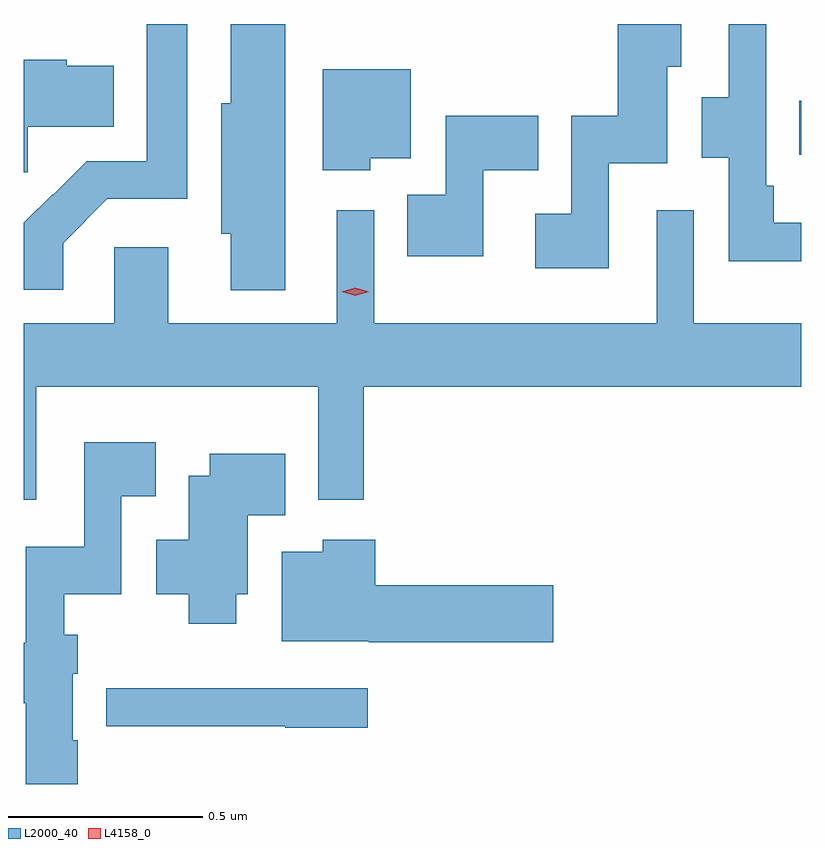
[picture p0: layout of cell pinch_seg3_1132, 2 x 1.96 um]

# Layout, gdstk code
import gdstk
lib = gdstk.Library(unit=1e-6, precision=1e-09)
def R(c, l, rs):  # rectangles x0, y0, x1, y1
    for r in rs: c.add(gdstk.rectangle(r[:2], r[2:], *l))
def P(c, l, *ps):  # polygons
    for p in ps: c.add(gdstk.Polygon(p, *l))
L2000_40 = (2000, 40)
L4158_0 = (4158, 0)

pinch_seg3_1132 = lib.new_cell('pinch_seg3_1132')
R(pinch_seg3_1132, L2000_40, [(352.402,737.477,352.407,737.617)])
P(pinch_seg3_1132, L2000_40, [(352.407,737.302),(352.337,737.302),(352.337,737.398),(352.317,737.398),(352.317,737.713),(352.318,737.713),(352.318,737.814),(352.221,737.814),(352.221,737.625),(352.151,737.625),(352.151,737.47),(352.221,737.47),(352.221,737.204),(352.407,737.204)],
  [(350.508,737.25),(350.622,737.364),(350.827,737.364),(350.827,737.814),(350.723,737.814),(350.723,737.461),(350.569,737.461),(350.483,737.374),(350.481,737.376),(350.407,737.302),(350.407,737.13),(350.508,737.13)],
  [(351.912,737.456),(352.063,737.456),(352.063,737.704),(352.099,737.704),(352.099,737.814),(351.935,737.814),(351.935,737.578),(351.816,737.578),(351.816,737.326),(351.723,737.326),(351.723,737.186),(351.912,737.186)],
  [(351.079,737.814),(350.939,737.814),(350.939,737.61),(350.915,737.61),(350.915,737.274),(350.939,737.274),(350.939,737.129),(351.079,737.129)],
  [(350.417,737.549),(350.638,737.549),(350.638,737.707),(350.517,737.707),(350.517,737.722),(350.407,737.722),(350.407,737.433),(350.417,737.433)],
  [(351.298,737.468),(351.403,737.468),(351.403,737.698),(351.176,737.698),(351.176,737.438),(351.298,737.438)],
  [(351.589,737.438),(351.731,737.438),(351.731,737.578),(351.492,737.578),(351.492,737.374),(351.394,737.374),(351.394,737.216),(351.589,737.216)],
  [(350.439,736.88),(351.165,736.88),(351.165,736.59),(351.281,736.59),(351.281,736.88),(352.407,736.88),(352.407,737.044),(352.131,737.044),(352.131,737.335),(352.035,737.335),(352.035,737.044),(351.309,737.044),(351.309,737.335),(351.212,737.335),(351.212,737.044),(350.779,737.044),(350.779,737.239),(350.64,737.239),(350.64,737.044),(350.407,737.044),(350.407,736.59),(350.439,736.59)],
  [(350.545,735.97),(350.533,735.97),(350.533,736.142),(350.546,736.142),(350.546,736.242),(350.511,736.242),(350.511,736.346),(350.658,736.346),(350.658,736.598),(350.746,736.598),(350.746,736.738),(350.562,736.738),(350.562,736.468),(350.412,736.468),(350.412,736.221),(350.407,736.221),(350.407,736.066),(350.411,736.066),(350.411,735.858),(350.545,735.858)],
  [(350.953,736.346),(350.983,736.346),(350.983,736.55),(351.08,736.55),(351.08,736.708),(350.885,736.708),(350.885,736.651),(350.831,736.651),(350.831,736.486),(350.747,736.486),(350.747,736.346),(350.831,736.346),(350.831,736.271),(350.953,736.271)],
  [(351.769,736.37),(351.311,736.37),(351.311,736.486),(351.176,736.486),(351.176,736.456),(351.071,736.456),(351.071,736.226),(351.294,736.226),(351.294,736.223),(351.769,736.223)],
  [(351.292,736.104),(350.949,736.104),(350.949,736.105),(350.619,736.105),(350.619,736.007),(351.079,736.007),(351.079,736.003),(351.292,736.003)])
P(pinch_seg3_1132, L4158_0, [(351.26,737.115),(351.225,737.125),(351.225,737.125),(351.225,737.125),(351.26,737.135),(351.296,737.125),(351.296,737.125),(351.296,737.125)])

lib.write_gds('pinch_seg3_1132.gds')
